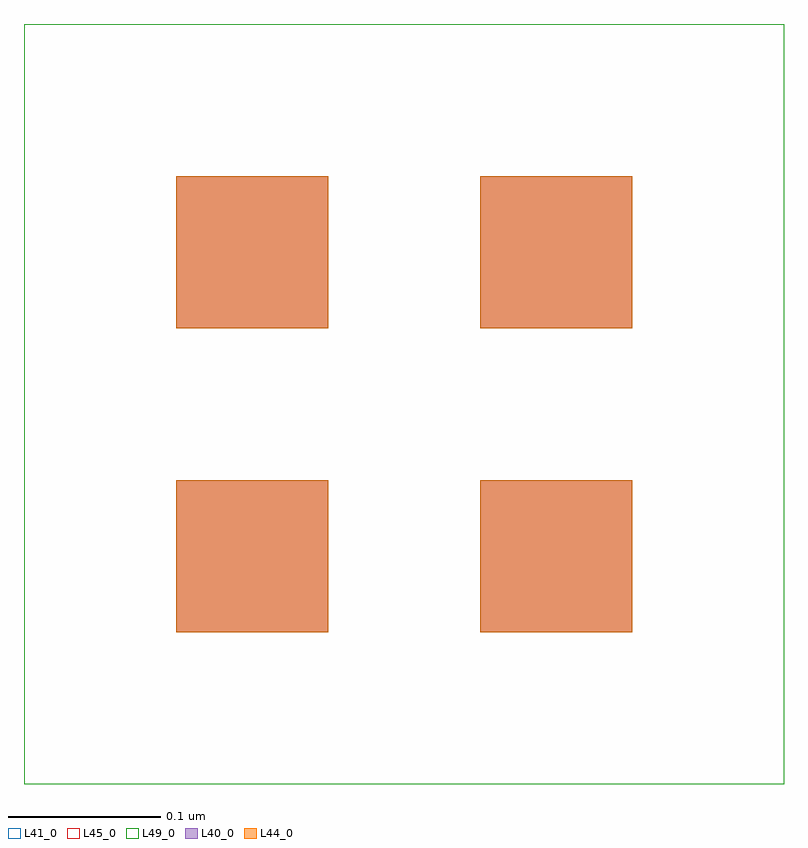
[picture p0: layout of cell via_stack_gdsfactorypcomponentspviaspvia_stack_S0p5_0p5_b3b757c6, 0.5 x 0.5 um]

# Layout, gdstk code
import gdstk
lib = gdstk.Library(unit=1e-6, precision=1e-09)
def R(c, l, rs):  # rectangles x0, y0, x1, y1
    for r in rs: c.add(gdstk.rectangle(r[:2], r[2:], *l))
L40_0 = (40, 0)
L41_0 = (41, 0)
L44_0 = (44, 0)
L45_0 = (45, 0)
L49_0 = (49, 0)

compass_gdsfactorypcompo = lib.new_cell('compass_gdsfactorypcomponentspshapespcompass_S0p5_0p5_L_e3eaae5a')
R(compass_gdsfactorypcompo, L41_0, [(-0.25,-0.25,0.25,0.25)])

c_compass_gdsfactorypcompo = lib.new_cell('compass_gdsfactorypcomponentspshapespcompass_S0p5_0p5_L_186f184e')
R(c_compass_gdsfactorypcompo, L45_0, [(-0.25,-0.25,0.25,0.25)])

c_compass_gdsfactorypcompo_ = lib.new_cell('compass_gdsfactorypcomponentspshapespcompass_S0p5_0p5_L_f210d766')
R(c_compass_gdsfactorypcompo_, L49_0, [(-0.25,-0.25,0.25,0.25)])

via_gdsfactorypcomponent = lib.new_cell('via_gdsfactorypcomponentspviaspvia_S0p1_0p1_E0p01_LVIAC_cbb103d7')
R(via_gdsfactorypcomponent, L40_0, [(-0.05,-0.05,0.05,0.05)])

c_via_gdsfactorypcomponent = lib.new_cell('via_gdsfactorypcomponentspviaspvia_S0p1_0p1_E0p01_LVIA1_0c2a5a1c')
R(c_via_gdsfactorypcomponent, L44_0, [(-0.05,-0.05,0.05,0.05)])

via_stack_gdsfactorypcom = lib.new_cell('via_stack_gdsfactorypcomponentspviaspvia_stack_S0p5_0p5_b3b757c6')
via_stack_gdsfactorypcom.add(gdstk.Reference(compass_gdsfactorypcompo, (0,0)))
via_stack_gdsfactorypcom.add(gdstk.Reference(c_compass_gdsfactorypcompo, (0,0)))
via_stack_gdsfactorypcom.add(gdstk.Reference(c_compass_gdsfactorypcompo_, (0,0)))
r = gdstk.Reference(via_gdsfactorypcomponent, (-0.1,-0.1)); r.repetition = gdstk.Repetition(2, 2, v1=(0.2,0), v2=(0,0.2)); via_stack_gdsfactorypcom.add(r)
r = gdstk.Reference(c_via_gdsfactorypcomponent, (-0.1,-0.1)); r.repetition = gdstk.Repetition(2, 2, v1=(0.2,0), v2=(0,0.2)); via_stack_gdsfactorypcom.add(r)

lib.write_gds('via_stack_gdsfactorypcomponentspviaspvia_stack_S0p5_0p5_b3b757c6.gds')
